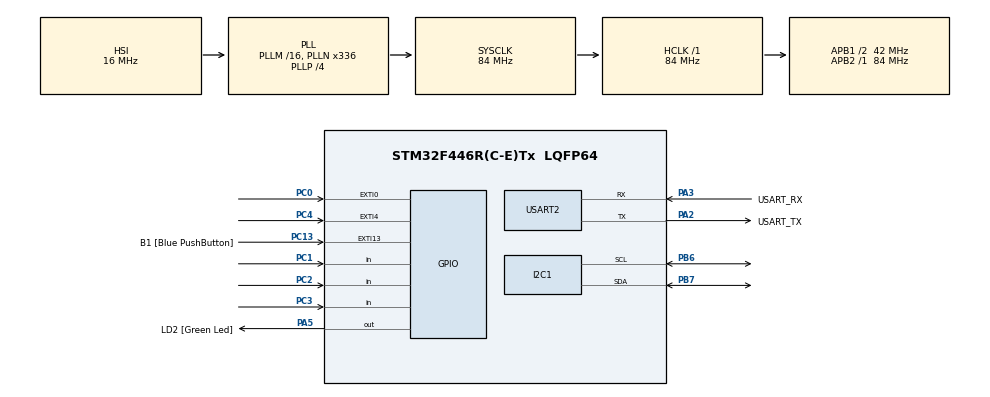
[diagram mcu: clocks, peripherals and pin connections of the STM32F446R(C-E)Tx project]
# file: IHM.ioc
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Mcu.Family=STM32F4
Mcu.Name=STM32F446R(C-E)Tx
Mcu.Package=LQFP64
NVIC.EXTI0_IRQn=true\:0\:0\:false\:false\:true\:true\:true
NVIC.EXTI4_IRQn=true\:0\:0\:false\:false\:true\:true\:true
NVIC.PriorityGroup=NVIC_PRIORITYGROUP_0
PA13.GPIO_Label=TMS
PA13.Mode=Serial_Wire
PA13.Signal=SYS_JTMS-SWDIO
PA14.GPIO_Label=TCK
PA14.Mode=Serial_Wire
PA14.Signal=SYS_JTCK-SWCLK
PA2.GPIO_Label=USART_TX
PA2.Mode=Asynchronous
PA2.Signal=USART2_TX
PA3.GPIO_Label=USART_RX
PA3.Mode=Asynchronous
PA3.Signal=USART2_RX
PA5.GPIO_Label=LD2 [Green Led]
PA5.Signal=GPIO_Output
PB3.GPIO_Label=SWO
PB3.Signal=SYS_JTDO-SWO
PB6.Mode=I2C
PB6.Signal=I2C1_SCL
PB7.Mode=I2C
PB7.Signal=I2C1_SDA
PC0.GPIO_ModeDefaultEXTI=GPIO_MODE_IT_FALLING
PC0.GPIO_PuPd=GPIO_PULLUP
PC0.Signal=GPXTI0
PC1.GPIO_PuPd=GPIO_PULLUP
PC1.Signal=GPIO_Input
PC13.GPIO_Label=B1 [Blue PushButton]
PC13.GPIO_ModeDefaultEXTI=GPIO_MODE_IT_FALLING
PC13.Signal=GPXTI13
PC14-OSC32_IN.Mode=LSE-External-Oscillator
PC14-OSC32_IN.Signal=RCC_OSC32_IN
PC15-OSC32_OUT.Mode=LSE-External-Oscillator
PC15-OSC32_OUT.Signal=RCC_OSC32_OUT
PC2.GPIO_PuPd=GPIO_PULLUP
PC2.Signal=GPIO_Input
PC3.GPIO_PuPd=GPIO_PULLUP
PC3.Signal=GPIO_Input
PC4.GPIO_ModeDefaultEXTI=GPIO_MODE_IT_FALLING
PC4.GPIO_PuPd=GPIO_PULLUP
PC4.Signal=GPXTI4
PH0-OSC_IN.Mode=HSE-External-Oscillator
PH0-OSC_IN.Signal=RCC_OSC_IN
PH1-OSC_OUT.Mode=HSE-External-Oscillator
PH1-OSC_OUT.Signal=RCC_OSC_OUT
ProjectManager.HeapSize=0x200
ProjectManager.StackSize=0x400
ProjectManager.TargetToolchain=TrueSTUDIO
RCC.48MHZClocksFreq_Value=84000000
RCC.AHBFreq_Value=84000000
RCC.APB1CLKDivider=RCC_HCLK_DIV2
RCC.APB1Freq_Value=42000000
RCC.APB1TimFreq_Value=84000000
RCC.APB2Freq_Value=84000000
RCC.APB2TimFreq_Value=84000000
RCC.CortexFreq_Value=84000000
RCC.FLatency-AdvancedSettings=FLASH_LATENCY_2
RCC.HCLKFreq_Value=84000000
RCC.HSE_VALUE=8000000
RCC.HSI_VALUE=16000000
RCC.PLLN=336
RCC.PLLP=RCC_PLLP_DIV4
RCC.SYSCLKFreq_VALUE=84000000
RCC.SYSCLKSource=RCC_SYSCLKSOURCE_PLLCLK
RCC.USBFreq_Value=168000000
RCC.VCOOutputFreq_Value=336000000
USART2.VirtualMode=VM_ASYNC
board=NUCLEO-F446RE

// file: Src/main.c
/* USER CODE BEGIN Header */
/**
  ******************************************************************************
  * @file           : main.c
  * @brief          : Main program body
  ******************************************************************************
  ** This notice applies to any and all portions of this file
  * that are not between comment pairs USER CODE BEGIN and
  * USER CODE END. Other portions of this file, whether
  * inserted by the user or by software development tools
  * are owned by their respective copyright owners.
  *
  * COPYRIGHT(c) 2019 STMicroelectronics
  *
  * Redistribution and use in source and binary forms, with or without modification,
  * are permitted provided that the following conditions are met:
  *   1. Redistributions of source code must retain the above copyright notice,
  *      this list of conditions and the following disclaimer.
  *   2. Redistributions in binary form must reproduce the above copyright notice,
  *      this list of conditions and the following disclaimer in the documentation
  *      and/or other materials provided with the distribution.
  *   3. Neither the name of STMicroelectronics nor the names of its contributors
  *      may be used to endorse or promote products derived from this software
  *      without specific prior written permission.
  *
  * THIS SOFTWARE IS PROVIDED BY THE COPYRIGHT HOLDERS AND CONTRIBUTORS "AS IS"
  * AND ANY EXPRESS OR IMPLIED WARRANTIES, INCLUDING, BUT NOT LIMITED TO, THE
  * IMPLIED WARRANTIES OF MERCHANTABILITY AND FITNESS FOR A PARTICULAR PURPOSE ARE
  * DISCLAIMED. IN NO EVENT SHALL THE COPYRIGHT HOLDER OR CONTRIBUTORS BE LIABLE
  * FOR ANY DIRECT, INDIRECT, INCIDENTAL, SPECIAL, EXEMPLARY, OR CONSEQUENTIAL
  * DAMAGES (INCLUDING, BUT NOT LIMITED TO, PROCUREMENT OF SUBSTITUTE GOODS OR
  * SERVICES; LOSS OF USE, DATA, OR PROFITS; OR BUSINESS INTERRUPTION) HOWEVER
  * CAUSED AND ON ANY THEORY OF LIABILITY, WHETHER IN CONTRACT, STRICT LIABILITY,
  * OR TORT (INCLUDING NEGLIGENCE OR OTHERWISE) ARISING IN ANY WAY OUT OF THE USE
  * OF THIS SOFTWARE, EVEN IF ADVISED OF THE POSSIBILITY OF SUCH DAMAGE.
  *
  ******************************************************************************
  */
/* USER CODE END Header */

#include "main.h"
#include "i2c.h"
#include "usart.h"
#include "gpio.h"

/* USER CODE BEGIN Includes */
#include "i2c-lcd.h"
#include "stdio.h"
/* USER CODE END Includes */

/* USER CODE BEGIN PV */

uint8_t config=0;
uint8_t ativo=0;
uint8_t deb=0;
uint8_t temp_sub=3;
char str_temp_sub[2];
uint8_t temp_des=3;
char str_temp_des[2];
uint8_t config_tela=0;
uint8_t emerg=0;

char str_estado[20];
char str_corrente[20];
char str_temp_res[20];
char str_velocidade[20];
int tempo_res;
char estado[10];
float corrente;
int velocidade;

/* USER CODE END PV */

void SystemClock_Config(void);
/* USER CODE BEGIN PFP */
void configuracao(void);
void emergencia(void);
void tela_principal(void);
/* USER CODE END PFP */

int main(void)
{

  /* MCU Configuration--------------------------------------------------------*/

  /* Reset of all peripherals, Initializes the Flash interface and the Systick. */
  HAL_Init();

  /* Configure the system clock */
  SystemClock_Config();

  /* Initialize all configured peripherals */
  MX_GPIO_Init();
  MX_USART2_UART_Init();
  MX_I2C1_Init();
  /* USER CODE BEGIN 2 */
  lcd_init();
  /* USER CODE END 2 */

  /* Infinite loop */
  while (1)
  {

    /* USER CODE BEGIN 3 */
	  tela_principal();
	  configuracao();
	  emergencia();

  }
  /* USER CODE END 3 */
}

void SystemClock_Config(void)
{
  RCC_OscInitTypeDef RCC_OscInitStruct = {0};
  RCC_ClkInitTypeDef RCC_ClkInitStruct = {0};

  /** Configure the main internal regulator output voltage
  */
  __HAL_RCC_PWR_CLK_ENABLE();
  __HAL_PWR_VOLTAGESCALING_CONFIG(PWR_REGULATOR_VOLTAGE_SCALE3);
  /** Initializes the CPU, AHB and APB busses clocks
  */
  RCC_OscInitStruct.OscillatorType = RCC_OSCILLATORTYPE_HSI;
  RCC_OscInitStruct.HSIState = RCC_HSI_ON;
  RCC_OscInitStruct.HSICalibrationValue = RCC_HSICALIBRATION_DEFAULT;
  RCC_OscInitStruct.PLL.PLLState = RCC_PLL_ON;
  RCC_OscInitStruct.PLL.PLLSource = RCC_PLLSOURCE_HSI;
  RCC_OscInitStruct.PLL.PLLM = 16;
  RCC_OscInitStruct.PLL.PLLN = 336;
  RCC_OscInitStruct.PLL.PLLP = RCC_PLLP_DIV4;
  RCC_OscInitStruct.PLL.PLLQ = 2;
  RCC_OscInitStruct.PLL.PLLR = 2;
  if (HAL_RCC_OscConfig(&RCC_OscInitStruct) != HAL_OK)
  {
    Error_Handler();
  }
  /** Initializes the CPU, AHB and APB busses clocks
  */
  RCC_ClkInitStruct.ClockType = RCC_CLOCKTYPE_HCLK|RCC_CLOCKTYPE_SYSCLK
                              |RCC_CLOCKTYPE_PCLK1|RCC_CLOCKTYPE_PCLK2;
  RCC_ClkInitStruct.SYSCLKSource = RCC_SYSCLKSOURCE_PLLCLK;
  RCC_ClkInitStruct.AHBCLKDivider = RCC_SYSCLK_DIV1;
  RCC_ClkInitStruct.APB1CLKDivider = RCC_HCLK_DIV2;
  RCC_ClkInitStruct.APB2CLKDivider = RCC_HCLK_DIV1;

  if (HAL_RCC_ClockConfig(&RCC_ClkInitStruct, FLASH_LATENCY_2) != HAL_OK)
  {
    Error_Handler();
  }
}

/* USER CODE BEGIN 4 */

void HAL_GPIO_EXTI_Callback(uint16_t GPIO_Pin)
{
	  if(GPIO_Pin == GPIO_PIN_0)
	  {
		  if(!config && !ativo && !config_tela && !emerg)
		  {
		    config=1;
		    config_tela=1;
		  }
	  }

	  if(GPIO_Pin == GPIO_PIN_4)
	  {
		  if(!config && !ativo && !config_tela)// trocar !ativo para ativo no fim dos testes
		  {
			  emerg=1;
		  }
	  }
}

void configuracao(void)
{
	while(config)
	{
		if(!(HAL_GPIO_ReadPin(GPIOC,GPIO_PIN_3) && GPIO_PIN_3))
		{
			deb=1;
			HAL_Delay(200);
		}

		if(config_tela==1)
		{
			if(!(HAL_GPIO_ReadPin(GPIOC,GPIO_PIN_1) && GPIO_PIN_1))
			{
				temp_sub--;
				HAL_GPIO_TogglePin(GPIOA,GPIO_PIN_5);
				HAL_Delay(200);
			}

			if(!(HAL_GPIO_ReadPin(GPIOC,GPIO_PIN_2) && GPIO_PIN_2))
			{
				temp_sub++;
				HAL_GPIO_TogglePin(GPIOA,GPIO_PIN_5);
				HAL_Delay(200);
			}

			if(temp_sub<3)
			{
				temp_sub=3;
			}

			if(temp_sub>55)
			{
				temp_sub=55;
			}

			sprintf(str_temp_sub,"%d",temp_sub);

			lcd_clear();
			lcd_send_cmd (0x80|0x41);
			lcd_send_string("Tempo de Subida(s)");
			lcd_send_cmd (0x80|0x1D);
			lcd_send_string(str_temp_sub);
			lcd_send_cmd (0x80|0x54);
			lcd_send_string(" ");

			if(deb)
			{
			   config_tela=2;
			   deb=0;
			}
		}

		else if(config_tela==2)
		{
			if(!(HAL_GPIO_ReadPin(GPIOC,GPIO_PIN_1) && GPIO_PIN_1))
			{
				temp_des--;
				HAL_GPIO_TogglePin(GPIOA,GPIO_PIN_5);
				HAL_Delay(200);
			}

			if(!(HAL_GPIO_ReadPin(GPIOC,GPIO_PIN_2) && GPIO_PIN_2))
			{
				temp_des++;
				HAL_GPIO_TogglePin(GPIOA,GPIO_PIN_5);
				HAL_Delay(200);
			}

			if(temp_des<3)
			{
				temp_des=3;
			}

			if(temp_des>55)
			{
				temp_des=55;
			}

			sprintf(str_temp_des,"%d",temp_des);

			lcd_clear();
			lcd_send_cmd (0x80|0x41);
			lcd_send_string("Tempo de Descida(s)");
			lcd_send_cmd (0x80|0x1D);
			lcd_send_string(str_temp_des);

			if(deb)
			{
				config_tela=0;
				config=0;
				deb=0;
				lcd_send_cmd (0x1);
				HAL_Delay(10);
			}
		}
	}
}

void emergencia(void)
{
	while(emerg)
	{
		lcd_clear();
		config_tela=0;
		config=0;
		deb=0;

		lcd_send_cmd (0x80|0x47);
		lcd_send_string("PARADA");
		lcd_send_cmd (0x80|0x1B);
		lcd_send_string("MANUAL");

		if(!(HAL_GPIO_ReadPin(GPIOC,GPIO_PIN_3) && GPIO_PIN_3))
			{
				emerg=0;
				lcd_clear();
			}

	};
}

void tela_principal(void)
{
	lcd_clear();
	sprintf(str_estado,"Estado: %s S", estado);
	sprintf(str_corrente,"Corrente: %.2f mA", corrente);
	sprintf(str_velocidade,"Velocidade: %i RPM",velocidade);
	sprintf(str_temp_res,"Tempo Restante: %i S",tempo_res);
	lcd_send_cmd (0x80|0x00);
	lcd_send_string(str_estado);
	lcd_send_cmd (0x80|0x40);
	lcd_send_string(str_corrente);
	lcd_send_cmd (0x80|0x14);
	lcd_send_string(str_velocidade);
	lcd_send_cmd (0x80|0x54);
	lcd_send_string(str_temp_res);
}

/* USER CODE END 4 */

void Error_Handler(void)
{
}

/************************ (C) COPYRIGHT STMicroelectronics *****END OF FILE****/
